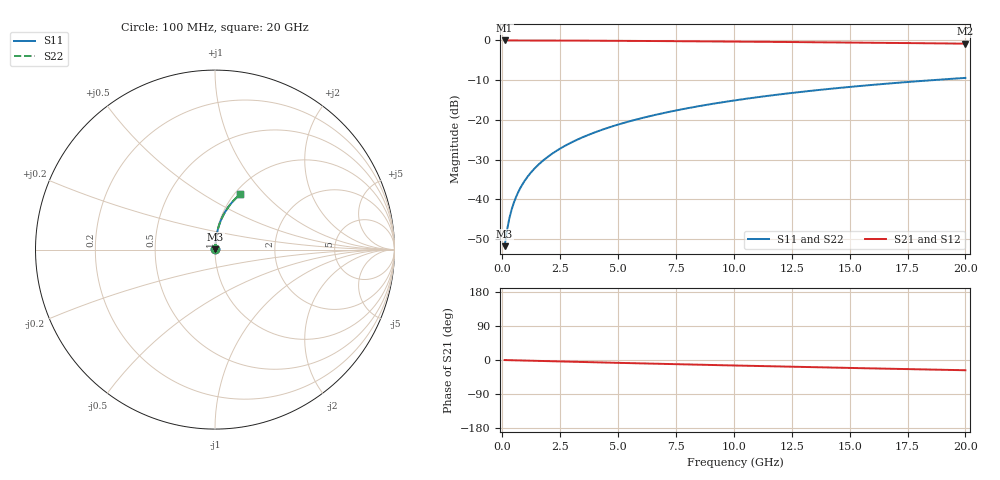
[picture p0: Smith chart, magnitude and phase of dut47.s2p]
! Touchstone file exported from HFSS 2024.1.0
!  File:  C:/UserFiles/LocalFiles/RDL_TSV_Batchsim/temp_RDL_top_47_1778681182.aedt
!  Generated:  10:08:32 PM May 13, 2026
!  Design:  RDL_top
!  Project:  temp_RDL_top_47_1778681182
!  Setup:  Setup1
!  Solution:  Sweep
! Variables:
!  dtsv = 10.80580581um
!  hbump = 3um
!  htsv = 56.26um
!  ldown = 100um
!  lrdl = 303.51um
!  p = 40
!  p1 = 58.38um
!  rhole = 1um
!  t = 450um
!  tdown = 3.915915916um
!  trdl = 4.35um
!  wdown = 15.38538539um
!  wrdl = 14.19um
# GHz S MA R 50.000000
! Terminal data exported
! Port[1] = Box2_T1
! Port[2] = Box2_T2
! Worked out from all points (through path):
!   200 points, 100 MHz to 20 GHz, reference 50 ohm
!   highest |S21| = -0.02 dB at 100 MHz (marker M1); lowest = -0.8 dB at 20 GHz (marker M2)
!   group delay of S21, straight-line fit = 3.74 ps
!   lowest |S11| = -51.7 dB at 100 MHz (marker M3), VSWR 1.01, Z = 50.2 + j0.18 ohm
!   |S11| at or under -10 dB: start of sweep to 18.57 GHz
!   |S22| runs from -51.7 to -9.4 dB; largest |S21 - S12| = 3.6e-15
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0.1  0.002586 44.0  0.9981 -0.2  0.9981 -0.2  0.002586 44.0
! Gamma 0 0 0 0
! Port Impedance 50 0 50 0
0.2  0.004054 62.3  0.9981 -0.3  0.9981 -0.3  0.004054 62.3
0.3  0.005705 70.3  0.998 -0.5  0.998 -0.5  0.005705 70.3
0.4  0.00741 74.5  0.9979 -0.6  0.9979 -0.6  0.00741 74.5
0.5  0.009129 77.1  0.9979 -0.8  0.9979 -0.8  0.009129 77.1
0.7  0.01258 80.1  0.9977 -1.1  0.9977 -1.1  0.01258 80.1
0.8  0.0143 81.0  0.9976 -1.2  0.9976 -1.2  0.0143 81.0
1  0.01774 82.3  0.9974 -1.5  0.9974 -1.5  0.01774 82.3
1.2  0.02118 83.1  0.9972 -1.9  0.9972 -1.9  0.02118 83.1
1.4  0.02462 83.7  0.997 -2.2  0.997 -2.2  0.02462 83.7
1.7  0.02979 84.2  0.9966 -2.6  0.9966 -2.6  0.02979 84.2
2  0.03497 84.5  0.9961 -3.1  0.9961 -3.1  0.03497 84.5
2.7  0.04711 84.6  0.9946 -4.1  0.9946 -4.1  0.04711 84.6
3.5  0.06106 84.4  0.9926 -5.3  0.9926 -5.3  0.06105 84.4
4.2  0.07331 84.0  0.9905 -6.4  0.9905 -6.4  0.07331 84.0
5  0.08737 83.4  0.9878 -7.5  0.9878 -7.5  0.08737 83.4
6.8  0.1191 81.7  0.9807 -10.1  0.9807 -10.1  0.1191 81.7
8.3  0.1456 80.0  0.9742 -12.2  0.9742 -12.2  0.1456 80.0
10.1  0.1771 77.9  0.9657 -14.6  0.9657 -14.6  0.1771 77.9
13.4  0.2336 73.8  0.9486 -18.9  0.9486 -18.9  0.2335 73.8
16.7  0.2873 69.6  0.93 -23.1  0.93 -23.1  0.2872 69.6
20  0.3376 65.5  0.91 -27.0  0.91 -27.0  0.3375 65.5
